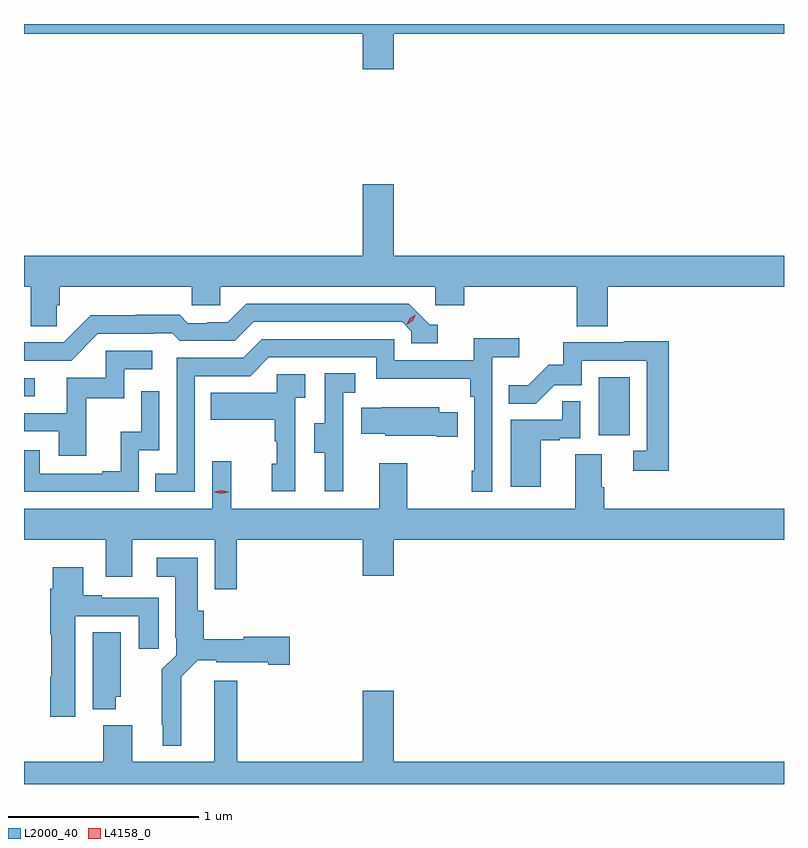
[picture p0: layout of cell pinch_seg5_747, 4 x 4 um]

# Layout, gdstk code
import gdstk
lib = gdstk.Library(unit=1e-6, precision=1e-09)
def R(c, l, rs):  # rectangles x0, y0, x1, y1
    for r in rs: c.add(gdstk.rectangle(r[:2], r[2:], *l))
def P(c, l, *ps):  # polygons
    for p in ps: c.add(gdstk.Polygon(p, *l))
L2000_40 = (2000, 40)
L4158_0 = (4158, 0)

pinch_seg5_747 = lib.new_cell('pinch_seg5_747')
R(pinch_seg5_747, L2000_40, [(861.554,910.59,861.718,910.897), (858.529,910.797,858.586,910.89)])
P(pinch_seg5_747, L2000_40, [(860.476,912.704),(862.529,912.704),(862.529,912.755),(858.529,912.755),(858.529,912.704),(860.312,912.704),(860.312,912.516),(860.476,912.516)],
  [(858.701,911.274),(858.716,911.274),(858.716,911.372),(859.413,911.372),(859.413,911.274),(859.563,911.274),(859.563,911.372),(860.694,911.372),(860.694,911.274),(860.846,911.274),(860.846,911.372),(861.437,911.372),(861.437,911.164),(861.602,911.164),(861.602,911.372),(862.529,911.372),(862.529,911.536),(860.476,911.536),(860.476,911.911),(860.312,911.911),(860.312,911.536),(858.529,911.536),(858.529,911.372),(858.564,911.372),(858.564,911.164),(858.701,911.164)],
  [(858.918,911.124),(859.211,911.124),(859.211,911.127),(859.31,911.127),(859.349,911.088),(859.638,911.088),(859.737,911.187),(860.52,911.187),(860.568,911.139),(860.568,911.076),(860.707,911.076),(860.707,911.172),(860.664,911.172),(860.553,911.283),(859.7,911.283),(859.601,911.184),(859.494,911.184),(859.494,911.181),(859.391,911.181),(859.349,911.224),(859.116,911.224),(859.116,911.221),(858.88,911.221),(858.738,911.079),(858.529,911.079),(858.529,910.983),(858.777,910.983)],
  [(859.428,910.902),(859.719,910.902),(859.818,911.001),(860.382,911.001),(860.382,910.889),(860.878,910.889),(860.878,910.793),(860.898,910.793),(860.898,910.405),(860.886,910.405),(860.886,910.293),(860.994,910.293),(860.994,911),(861.136,911),(861.136,911.102),(860.897,911.102),(860.897,910.986),(860.478,910.986),(860.478,911.097),(859.781,911.097),(859.682,910.998),(859.332,910.998),(859.332,910.389),(859.219,910.389),(859.219,910.293),(859.428,910.293)],
  [(861.923,911.084),(861.685,911.084),(861.685,911.079),(861.367,911.079),(861.367,910.962),(861.29,910.962),(861.183,910.855),(861.079,910.855),(861.079,910.756),(861.223,910.756),(861.321,910.854),(861.465,910.854),(861.465,910.983),(861.807,910.983),(861.807,910.509),(861.735,910.509),(861.735,910.404),(861.923,910.404)],
  [(858.857,910.785),(859.056,910.785),(859.056,910.938),(859.204,910.938),(859.204,911.034),(858.96,911.034),(858.96,910.893),(858.755,910.893),(858.755,910.707),(858.529,910.707),(858.529,910.611),(858.713,910.611),(858.713,910.482),(858.857,910.482)],
  [(860.21,910.509),(860.208,910.509),(860.208,910.813),(860.272,910.813),(860.272,910.916),(860.112,910.916),(860.112,910.653),(860.057,910.653),(860.057,910.498),(860.111,910.498),(860.111,910.296),(860.21,910.296)],
  [(859.956,910.787),(860.008,910.787),(860.008,910.911),(859.86,910.911),(859.86,910.813),(859.513,910.813),(859.513,910.673),(859.848,910.673),(859.848,910.559),(859.858,910.559),(859.858,910.44),(859.832,910.44),(859.832,910.296),(859.956,910.296)],
  [(859.134,910.512),(859.242,910.512),(859.242,910.822),(859.146,910.822),(859.146,910.61),(859.037,910.61),(859.037,910.402),(858.941,910.402),(858.941,910.389),(858.612,910.389),(858.612,910.512),(858.529,910.512),(858.529,910.293),(859.134,910.293)],
  [(861.25,910.563),(861.35,910.563),(861.35,910.575),(861.456,910.575),(861.456,910.769),(861.361,910.769),(861.361,910.671),(861.092,910.671),(861.092,910.32),(861.25,910.32)],
  [(860.813,910.711),(860.715,910.711),(860.715,910.738),(860.413,910.738),(860.413,910.735),(860.305,910.735),(860.305,910.598),(860.43,910.598),(860.43,910.589),(860.702,910.589),(860.702,910.582),(860.813,910.582)],
  [(859.649,910.04),(860.312,910.04),(860.312,909.852),(860.476,909.852),(860.476,910.04),(862.529,910.04),(862.529,910.204),(861.584,910.204),(861.584,910.316),(861.571,910.316),(861.571,910.49),(861.431,910.49),(861.431,910.204),(860.547,910.204),(860.547,910.444),(860.399,910.444),(860.399,910.204),(859.619,910.204),(859.619,910.453),(859.521,910.453),(859.521,910.204),(858.529,910.204),(858.529,910.04),(858.959,910.04),(858.959,909.846),(859.099,909.846),(859.099,910.04),(859.533,910.04),(859.533,909.78),(859.649,909.78)],
  [(859.357,909.32),(859.443,909.407),(859.542,909.407),(859.542,909.395),(859.814,909.395),(859.814,909.383),(859.927,909.383),(859.927,909.53),(859.686,909.53),(859.686,909.517),(859.475,909.517),(859.475,909.666),(859.444,909.666),(859.444,909.946),(859.227,909.946),(859.227,909.845),(859.325,909.845),(859.325,909.526),(859.329,909.526),(859.329,909.432),(859.255,909.358),(859.255,909.067),(859.259,909.067),(859.259,908.957),(859.357,908.957)],
  [(858.799,909.639),(859.133,909.639),(859.133,909.468),(859.237,909.468),(859.237,909.735),(858.937,909.735),(858.937,909.748),(858.841,909.748),(858.841,909.895),(858.68,909.895),(858.68,909.782),(858.668,909.782),(858.668,909.542),(858.673,909.542),(858.673,909.32),(858.668,909.32),(858.668,909.108),(858.799,909.108)],
  [(859.012,909.213),(859.039,909.213),(859.039,909.554),(858.89,909.554),(858.89,909.149),(859.012,909.149)],
  [(862.529,908.872),(860.476,908.872),(860.476,909.247),(860.312,909.247),(860.312,908.872),(859.652,908.872),(859.652,909.298),(859.529,909.298),(859.529,908.872),(859.099,908.872),(859.099,909.064),(858.947,909.064),(858.947,908.872),(858.529,908.872),(858.529,908.755),(862.529,908.755)])
P(pinch_seg5_747, L4158_0, [(860.543,911.173),(860.543,911.174),(860.56,911.206),(860.59,911.225),(860.591,911.225),(860.591,911.225),(860.574,911.193),(860.544,911.173)],
  [(859.568,910.282),(859.533,910.291),(859.533,910.292),(859.533,910.292),(859.568,910.302),(859.603,910.292),(859.603,910.292),(859.603,910.291)])

lib.write_gds('pinch_seg5_747.gds')
